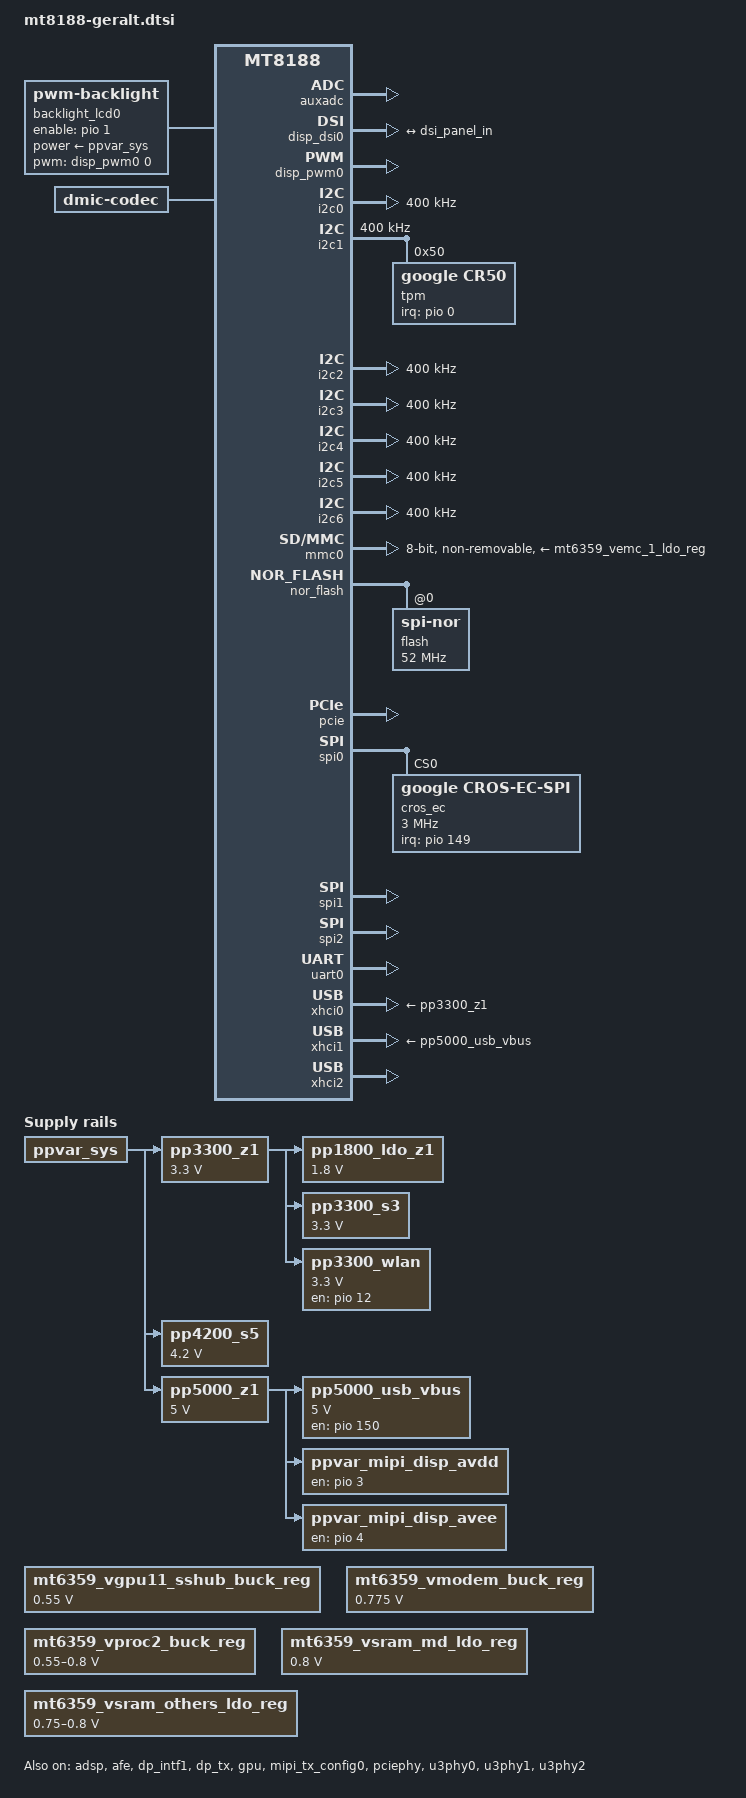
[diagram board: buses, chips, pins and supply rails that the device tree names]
// SPDX-License-Identifier: (GPL-2.0 OR MIT)
/*
 * Copyright (C) 2022 MediaTek Inc.
 */
/dts-v1/;
#include <dt-bindings/gpio/gpio.h>
#include "mt8188.dtsi"
#include "mt6359.dtsi"

/ {
	aliases {
		i2c0 = &i2c0;
		i2c1 = &i2c1;
		i2c2 = &i2c2;
		i2c3 = &i2c3;
		i2c4 = &i2c4;
		i2c5 = &i2c5;
		i2c6 = &i2c6;
		mmc0 = &mmc0;
		serial0 = &uart0;
	};

	backlight_lcd0: backlight-lcd0 {
		compatible = "pwm-backlight";
		brightness-levels = <0 1023>;
		default-brightness-level = <576>;
		enable-gpios = <&pio 1 GPIO_ACTIVE_HIGH>;
		num-interpolated-steps = <1023>;
		power-supply = <&ppvar_sys>;
		pwms = <&disp_pwm0 0 500000>;
	};

	chosen {
		stdout-path = "serial0:115200n8";
	};

	dmic-codec {
		compatible = "dmic-codec";
		num-channels = <2>;
		wakeup-delay-ms = <100>;
	};

	memory@40000000 {
		device_type = "memory";
		/* The size will be filled in by the bootloader */
		reg = <0 0x40000000 0 0>;
	};

	/* system wide LDO 1.8V power rail */
	pp1800_ldo_z1: regulator-pp1800-ldo-z1 {
		compatible = "regulator-fixed";
		regulator-name = "pp1800_ldo_z1";
		/* controlled by PP3300_Z1 */
		regulator-always-on;
		regulator-boot-on;
		regulator-min-microvolt = <1800000>;
		regulator-max-microvolt = <1800000>;
		vin-supply = <&pp3300_z1>;
	};

	/* separately switched 3.3V power rail */
	pp3300_s3: regulator-pp3300-s3 {
		compatible = "regulator-fixed";
		regulator-name = "pp3300_s3";
		/* controlled by PMIC */
		regulator-always-on;
		regulator-boot-on;
		regulator-min-microvolt = <3300000>;
		regulator-max-microvolt = <3300000>;
		vin-supply = <&pp3300_z1>;
	};

	/* system wide 3.3V power rail */
	pp3300_z1: regulator-pp3300-z1 {
		compatible = "regulator-fixed";
		regulator-name = "pp3300_z1";
		/* controlled by PP3300_LDO_Z5 & EN_PWR_Z1 */
		regulator-always-on;
		regulator-boot-on;
		regulator-min-microvolt = <3300000>;
		regulator-max-microvolt = <3300000>;
		vin-supply = <&ppvar_sys>;
	};

	pp3300_wlan: regulator-pp3300-wlan {
		compatible = "regulator-fixed";
		regulator-name = "pp3300_wlan";
		regulator-always-on;
		regulator-min-microvolt = <3300000>;
		regulator-max-microvolt = <3300000>;
		enable-active-high;
		gpio = <&pio 12 GPIO_ACTIVE_HIGH>;
		pinctrl-0 = <&wlan_en>;
		pinctrl-names = "default";
		vin-supply = <&pp3300_z1>;
	};

	/* system wide 4.2V power rail */
	pp4200_s5: regulator-pp4200-s5 {
		compatible = "regulator-fixed";
		regulator-name = "pp4200_s5";
		/* controlled by EC */
		regulator-always-on;
		regulator-boot-on;
		regulator-min-microvolt = <4200000>;
		regulator-max-microvolt = <4200000>;
		vin-supply = <&ppvar_sys>;
	};

	/* system wide 5.0V power rail */
	pp5000_z1: regulator-pp5000-z1 {
		compatible = "regulator-fixed";
		regulator-name = "pp5000_z1";
		/* controlled by EC */
		regulator-always-on;
		regulator-boot-on;
		regulator-min-microvolt = <5000000>;
		regulator-max-microvolt = <5000000>;
		vin-supply = <&ppvar_sys>;
	};

	pp5000_usb_vbus: regulator-pp5000-usb-vbus {
		compatible = "regulator-fixed";
		regulator-name = "pp5000_usb_vbus";
		regulator-min-microvolt = <5000000>;
		regulator-max-microvolt = <5000000>;
		enable-active-high;
		gpio = <&pio 150 GPIO_ACTIVE_HIGH>;
		vin-supply = <&pp5000_z1>;
	};

	/* system wide semi-regulated power rail from battery or USB */
	ppvar_sys: regulator-ppvar-sys {
		compatible = "regulator-fixed";
		regulator-name = "ppvar_sys";
		regulator-always-on;
		regulator-boot-on;
	};

	ppvar_mipi_disp_avdd: regulator-ppvar-mipi-disp-avdd {
		compatible = "regulator-fixed";
		regulator-name = "ppvar_mipi_disp_avdd";
		enable-active-high;
		gpio = <&pio 3 GPIO_ACTIVE_HIGH>;
		pinctrl-names = "default";
		pinctrl-0 = <&mipi_disp_avdd_en>;
		vin-supply = <&pp5000_z1>;
	};

	ppvar_mipi_disp_avee: regulator-ppvar-mipi-disp-avee {
		compatible = "regulator-fixed";
		regulator-name = "ppvar_mipi_disp_avee";
		regulator-enable-ramp-delay = <10000>;
		enable-active-high;
		gpio = <&pio 4 GPIO_ACTIVE_HIGH>;
		pinctrl-names = "default";
		pinctrl-0 = <&mipi_disp_avee_en>;
		vin-supply = <&pp5000_z1>;
	};

	reserved_memory: reserved-memory {
		#address-cells = <2>;
		#size-cells = <2>;
		ranges;

		apu_mem: memory@55000000 {
			compatible = "shared-dma-pool";
			reg = <0 0x55000000 0 0x1400000>;
		};

		adsp_mem: memory@60000000 {
			compatible = "shared-dma-pool";
			reg = <0 0x60000000 0 0xf00000>;
			no-map;
		};

		afe_dma_mem: memory@60f00000 {
			compatible = "shared-dma-pool";
			reg = <0 0x60f00000 0 0x100000>;
			no-map;
		};

		adsp_dma_mem: memory@61000000 {
			compatible = "shared-dma-pool";
			reg = <0 0x61000000 0 0x100000>;
			no-map;
		};
	};
};

&adsp {
	memory-region = <&adsp_dma_mem>, <&adsp_mem>;
	pinctrl-names = "default";
	pinctrl-0 = <&adsp_uart_pins>;
	status = "okay";
};

&afe {
	memory-region = <&afe_dma_mem>;
	mediatek,etdm-out1-cowork-source = <0>; /* in1 */
	mediatek,etdm-in2-cowork-source = <3>; /* out2 */
	status = "okay";
};

&auxadc {
	status = "okay";
};

&cam_vcore {
	domain-supply = <&mt6359_vproc1_buck_reg>;
};

/*
 * Geralt is the reference design and doesn't have target TDP.
 * Ciri is (currently) the only device following Geralt, and its
 * TDP target is 90 degrees.
 **/
&cpu_little0_alert0 {
	temperature = <90000>;
	hysteresis = <2000>;
	type = "passive";
};

&cpu_little1_alert0 {
	temperature = <90000>;
	hysteresis = <2000>;
	type = "passive";
};

&cpu_little2_alert0 {
	temperature = <90000>;
	hysteresis = <2000>;
	type = "passive";
};

&cpu_little3_alert0 {
	temperature = <90000>;
	hysteresis = <2000>;
	type = "passive";
};

&cpu_big0_alert0 {
	temperature = <90000>;
	hysteresis = <2000>;
	type = "passive";
};

&cpu_big1_alert0 {
	temperature = <90000>;
	hysteresis = <2000>;
	type = "passive";
};

&disp_dsi0 {
	#address-cells = <1>;
	#size-cells = <0>;
	status = "okay";

	dsi_panel: panel@0 {
		/* Compatible string for different panels can be found in each device dts */
		reg = <0>;
		enable-gpios = <&pio 25 GPIO_ACTIVE_HIGH>;
		pinctrl-names = "default";
		pinctrl-0 = <&mipi_dsi_pins>;

		backlight = <&backlight_lcd0>;
		avdd-supply = <&ppvar_mipi_disp_avdd>;
		avee-supply = <&ppvar_mipi_disp_avee>;
		pp1800-supply = <&mt6359_vm18_ldo_reg>;
		rotation = <270>;

		status = "okay";

		port {
			dsi_panel_in: endpoint {
				remote-endpoint = <&dsi_out>;
			};
		};
	};

	port {
		dsi_out: endpoint {
			remote-endpoint = <&dsi_panel_in>;
		};
	};
};

&disp_pwm0 {
	pinctrl-names = "default";
	pinctrl-0 = <&disp_pwm0_pins>;
	status = "okay";
};

&disp_pwm1 {
	pinctrl-names = "default";
	pinctrl-0 = <&disp_pwm1_pins>;
};

&dp_intf1 {
	status = "okay";

	port {
		dp_intf1_out: endpoint {
			remote-endpoint = <&dptx_in>;
		};
	};
};

&dp_tx {
	pinctrl-names = "default";
	pinctrl-0 = <&dp_tx_hpd>;
	#sound-dai-cells = <0>;
	status = "okay";

	ports {
		#address-cells = <1>;
		#size-cells = <0>;

		port@0 {
			reg = <0>;
			dptx_in: endpoint {
				remote-endpoint = <&dp_intf1_out>;
			};
		};

		port@1 {
			reg = <1>;
			dptx_out: endpoint {
				data-lanes = <0 1 2 3>;
			};
		};
	};
};

&gpu {
	mali-supply = <&mt6359_vproc2_buck_reg>;
	status = "okay";
};

&i2c0 {
	pinctrl-names = "default";
	pinctrl-0 = <&i2c0_pins>;
	clock-frequency = <400000>;
	status = "okay";
};

&i2c1 {
	pinctrl-names = "default";
	pinctrl-0 = <&i2c1_pins>;
	clock-frequency = <400000>;
	status = "okay";

	tpm@50 {
		compatible = "google,cr50";
		reg = <0x50>;
		interrupts-extended = <&pio 0 IRQ_TYPE_EDGE_RISING>;
		pinctrl-names = "default";
		pinctrl-0 = <&gsc_int>;
	};
};

&i2c2 {
	pinctrl-names = "default";
	pinctrl-0 = <&i2c2_pins>;
	clock-frequency = <400000>;
	status = "okay";
};

&i2c3 {
	pinctrl-names = "default";
	pinctrl-0 = <&i2c3_pins>;
	clock-frequency = <400000>;
	status = "okay";
};

&i2c4 {
	pinctrl-names = "default";
	pinctrl-0 = <&i2c4_pins>;
	clock-frequency = <400000>;
	status = "okay";
};

&i2c5 {
	pinctrl-names = "default";
	pinctrl-0 = <&i2c5_pins>;
	clock-frequency = <400000>;
	status = "okay";
};

&i2c6 {
	pinctrl-names = "default";
	pinctrl-0 = <&i2c6_pins>;
	clock-frequency = <400000>;
	status = "okay";
};

&mfg0 {
	domain-supply = <&mt6359_vproc2_buck_reg>;
};

&mfg1 {
	domain-supply = <&mt6359_vsram_others_ldo_reg>;
};

&mipi_tx_config0 {
	status = "okay";
};

&mmc0 {
	bus-width = <8>;
	cap-mmc-highspeed;
	cap-mmc-hw-reset;
	hs400-ds-delay = <0x1481b>;
	max-frequency = <200000000>;
	mmc-hs200-1_8v;
	mmc-hs400-1_8v;
	mmc-hs400-enhanced-strobe;
	no-sd;
	no-sdio;
	non-removable;
	pinctrl-names = "default", "state_uhs";
	pinctrl-0 = <&mmc0_pins_default>;
	pinctrl-1 = <&mmc0_pins_uhs>;
	supports-cqe;
	vmmc-supply = <&mt6359_vemc_1_ldo_reg>;
	vqmmc-supply = <&mt6359_vufs_ldo_reg>;
	status = "okay";
};

&mt6359codec {
	mediatek,dmic-mode = <1>; /* one-wire */
	mediatek,mic-type-0 = <2>; /* DMIC */
	mediatek,mic-type-2 = <2>; /* DMIC */
};

&mt6359_vcore_buck_reg {
	regulator-always-on;
};

&mt6359_vgpu11_buck_reg {
	regulator-always-on;
};

&mt6359_vgpu11_sshub_buck_reg {
	regulator-min-microvolt = <550000>;
	regulator-max-microvolt = <550000>;
	regulator-always-on;
};

&mt6359_vio28_ldo_reg {
	/delete-property/ regulator-always-on;
};

&mt6359_vm18_ldo_reg {
	/delete-property/ regulator-always-on;
};

&mt6359_vmodem_buck_reg {
	regulator-min-microvolt = <775000>;
	regulator-max-microvolt = <775000>;
};

&mt6359_vpa_buck_reg {
	regulator-max-microvolt = <3100000>;
};

&mt6359_vproc2_buck_reg {
	/*
	 * Called "ppvar_dvdd_gpu" in the schematic. Renamed to
	 * "ppvar_dvdd_vgpu" here to match mtk-regulator-coupler requirements.
	 */
	regulator-name = "ppvar_dvdd_vgpu";
	regulator-min-microvolt = <550000>;
	regulator-max-microvolt = <800000>;
	regulator-coupled-with = <&mt6359_vsram_others_ldo_reg>;
	regulator-coupled-max-spread = <6250>;
};

&mt6359_vpu_buck_reg {
	regulator-always-on;
};

&mt6359_vrf12_ldo_reg {
	regulator-always-on;
};

&mt6359_vsram_md_ldo_reg {
	regulator-min-microvolt = <800000>;
	regulator-max-microvolt = <800000>;
};

&mt6359_vsram_others_ldo_reg {
	regulator-name = "pp0850_dvdd_sram_gpu";
	regulator-min-microvolt = <750000>;
	regulator-max-microvolt = <800000>;
	regulator-coupled-with = <&mt6359_vproc2_buck_reg>;
	regulator-coupled-max-spread = <6250>;
};

&mt6359_vufs_ldo_reg {
	regulator-always-on;
};

&nor_flash {
	pinctrl-names = "default";
	pinctrl-0 = <&nor_pins>;
	status = "okay";

	flash@0 {
		compatible = "jedec,spi-nor";
		reg = <0>;
		spi-max-frequency = <52000000>;
	};
};

&pcie {
	pinctrl-names = "default";
	pinctrl-0 = <&pcie_pins>;
	status = "okay";
};

&pciephy {
	status = "okay";
};

&pio {
	gpio-line-names =
		"gsc_int",
		"AP_DISP_BKLTEN",
		"",
		"EN_PPVAR_MIPI_DISP",
		"EN_PPVAR_MIPI_DISP_150MA",
		"TCHSCR_RST_1V8_L",
		"TCHSRC_REPORT_DISABLE",
		"",
		"",
		"",
		"",
		"I2S_SPKR_DATAOUT",
		"EN_PP3300_WLAN_X",
		"WIFI_KILL_1V8_L",
		"BT_KILL_1V8_L",
		"AP_FLASH_WP_L", /* ... is crossystem ABI. Rev1 schematics call it AP_WP_ODL. */
		"",
		"EDP_HPD_1V8",
		"WCAM_PWDN_L",
		"WCAM_RST_L",
		"UCAM_PWDM_L",
		"UCAM_RST_L",
		"WCAM_24M_CLK",
		"UCAM_24M_CLK",
		"MT6319_INT",
		"DISP_RST_1V8_L",
		"DSIO_DSI_TE",
		"EN_PP3300_EDP_DISP_X",
		"TP",
		"MIPI_BL_PWM_1V8",
		"EDP_BL_PWM_1V8",
		"UART_AP_TX_GSC_RX",
		"UART_GSC_TX_AP_RX",
		"UART_SSPM_TX_DBGCON_RX",
		"UART_DBGCON_TX_SSPM_RX",
		"UART_ADSP_TX_DBGCON_RX",
		"UART_DBGCON_TX_ADSP_RX",
		"JTAG_AP_TMS",
		"JTAG_AP_TCK",
		"JTAG_AP_TDI",
		"JTAG_AP_TDO",
		"JTAG_AP_TRST",
		"AP_KPCOL0",
		"TP",
		"BEEP_ON_OD",
		"TP",
		"EC_AP_HPD_OD",
		"PCIE_WAKE_1V8_ODL",
		"PCIE_RST_1V8_L",
		"PCIE_CLKREQ_1V8_ODL",
		"",
		"",
		"",
		"",
		"",
		"AP_I2C_AUD_SCL_1V8",
		"AP_I2C_AUD_SDA_1V8",
		"AP_I2C_TPM_SCL_1V8",
		"AP_I2C_TPM_SDA_1V8",
		"AP_I2C_TCHSCR_SCL_1V8",
		"AP_I2C_TCHSCR_SDA_1V8",
		"AP_I2C_PMIC_SAR_SCL_1V8",
		"AP_I2C_PMIC_SAR_SDA_1V8",
		"AP_I2C_EC_HID_KB_SCL_1V8",
		"AP_I2C_EC_HID_KB_SDA_1V8",
		"AP_I2C_UCAM_SCL_1V8",
		"AP_I2C_UCAM_SDA_1V8",
		"AP_I2C_WCAM_SCL_1V8",
		"AP_I2C_WCAM_SDA_1V8",
		"SPI_AP_CS_EC_L",
		"SPI_AP_CLK_EC",
		"SPI_AP_DO_EC_DI",
		"SPI_AP_DI_EC_DO",
		"TP",
		"TP",
		"SPI_AP_CS_TCHSCR_L",
		"SPI_AP_CLK_TCHSCR",
		"SPI_AP_DO_TCHSCR_DI",
		"SPI_AP_DI_TCHSCR_DO",
		"TP",
		"TP",
		"TP",
		"TP",
		"",
		"",
		"",
		"TP",
		"",
		"SAR_INT_ODL",
		"",
		"",
		"",
		"PWRAP_SPI_CS_L",
		"PWRAP_SPI_CK",
		"PWRAP_SPI_MOSI",
		"PWRAP_SPI_MISO",
		"SRCLKENA0",
		"SRCLKENA1",
		"SCP_VREQ_VAO",
		"AP_RTC_CLK32K",
		"AP_PMIC_WDTRST_L",
		"AUD_CLK_MOSI",
		"AUD_SYNC_MOSI",
		"AUD_DAT_MOSI0",
		"AUD_DAT_MOSI1",
		"AUD_DAT_MISO0",
		"AUD_DAT_MISO1",
		"SD_CD_ODL",
		"HP_INT_ODL",
		"SPKR_INT_ODL",
		"I2S_HP_DATAIN",
		"EN_SPKR",
		"I2S_SPKR_MCLK",
		"I2S_SPKR_BCLK",
		"I2S_HP_MCLK",
		"I2S_HP_BCLK",
		"I2S_HP_LRCK",
		"I2S_HP_DATAOUT",
		"RST_SPKR_L",
		"I2S_SPKR_LRCK",
		"I2S_SPKR_DATAIN",
		"",
		"",
		"",
		"",
		"SPI_AP_CLK_ROM",
		"SPI_AP_CS_ROM_L",
		"SPI_AP_DO_ROM_DI",
		"SPI_AP_DI_ROM_DO",
		"TP",
		"TP",
		"",
		"",
		"",
		"",
		"",
		"",
		"",
		"",
		"EN_PP2800A_UCAM_X",
		"EN_PP1200_UCAM_X",
		"EN_PP2800A_WCAM_X",
		"EN_PP1100_WCAM_X",
		"TCHSCR_INT_1V8_L",
		"EN_PP3300_MIPI_TCHSCR_X",
		"MT7921_PMU_EN_1V8",
		"EN_PP3300_EDP_TCHSCR_X",
		"AP_EC_WARM_RST_REQ",
		"EC_AP_HID_INT_ODL",
		"EC_AP_INT_ODL",
		"AP_XHCI_INIT_DONE",
		"EMMC_DAT7",
		"EMMC_DAT6",
		"EMMC_DAT5",
		"EMMC_DAT4",
		"EMMC_RST_L",
		"EMMC_CMD",
		"EMMC_CLK",
		"EMMC_DAT3",
		"EMMC_DAT2",
		"EMMC_DAT1",
		"EMMC_DAT0",
		"EMMC_DSL",
		"SD_CMD",
		"SD_CLK",
		"SD_DAT0",
		"SD_DAT1",
		"SD_DAT2",
		"SD_DAT3",
		"",
		"",
		"USB3_HUB_RST_L",
		"EC_AP_RSVD0_ODL",
		"",
		"",
		"SPMI_SCL",
		"SPMI_SDA";

	adsp_uart_pins: adsp-uart-pins {
		pins-bus {
			pinmux = <PINMUX_GPIO35__FUNC_O_ADSP_UTXD0>,
				 <PINMUX_GPIO36__FUNC_I1_ADSP_URXD0>;
		};
	};

	aud_etdm_hp_on: aud-etdm-hp-on-pins {
		pins-bus {
			pinmux = <PINMUX_GPIO110__FUNC_I0_I2SIN_D0>,
				 <PINMUX_GPIO115__FUNC_B0_I2SO2_BCK>,
				 <PINMUX_GPIO116__FUNC_B0_I2SO2_WS>,
				 <PINMUX_GPIO117__FUNC_O_I2SO2_D0>;
		};
	};

	aud_etdm_hp_off: aud-etdm-hp-off-pins {
		pins-bus {
			pinmux = <PINMUX_GPIO110__FUNC_B_GPIO110>,
				 <PINMUX_GPIO115__FUNC_B_GPIO115>,
				 <PINMUX_GPIO116__FUNC_B_GPIO116>,
				 <PINMUX_GPIO117__FUNC_B_GPIO117>;
			bias-pull-down;
			input-enable;
		};
	};

	aud_etdm_spk_on: aud-etdm-spk-on-pins {
		pins-bus {
			pinmux = <PINMUX_GPIO11__FUNC_O_I2SO1_D0>,
				 <PINMUX_GPIO113__FUNC_B0_TDMIN_BCK>,
				 <PINMUX_GPIO119__FUNC_B0_TDMIN_LRCK>,
				 <PINMUX_GPIO120__FUNC_I0_TDMIN_DI>;
			drive-strength = <8>;
		};
	};

	aud_etdm_spk_off: aud-etdm-spk-off-pins {
		pins-bus {
			pinmux = <PINMUX_GPIO11__FUNC_B_GPIO11>,
				 <PINMUX_GPIO113__FUNC_B_GPIO113>,
				 <PINMUX_GPIO119__FUNC_B_GPIO119>,
				 <PINMUX_GPIO120__FUNC_B_GPIO120>;
			bias-pull-down;
			input-enable;
		};
	};

	aud_mtkaif_on: aud-mtkaif-on-pins {
		pins-bus {
			pinmux = <PINMUX_GPIO101__FUNC_O_AUD_CLK_MOSI>,
				 <PINMUX_GPIO102__FUNC_O_AUD_SYNC_MOSI>,
				 <PINMUX_GPIO103__FUNC_O_AUD_DAT_MOSI0>,
				 <PINMUX_GPIO104__FUNC_O_AUD_DAT_MOSI1>,
				 <PINMUX_GPIO105__FUNC_I0_AUD_DAT_MISO0>,
				 <PINMUX_GPIO106__FUNC_I0_AUD_DAT_MISO1>;
		};
	};

	aud_mtkaif_off: aud-mtkaif-off-pins {
		pins-bus {
			pinmux = <PINMUX_GPIO101__FUNC_B_GPIO101>,
				 <PINMUX_GPIO102__FUNC_B_GPIO102>,
				 <PINMUX_GPIO103__FUNC_B_GPIO103>,
				 <PINMUX_GPIO104__FUNC_B_GPIO104>,
				 <PINMUX_GPIO105__FUNC_B_GPIO105>,
				 <PINMUX_GPIO106__FUNC_B_GPIO106>;
			bias-pull-down;
			input-enable;
		};
	};

	cros_ec_int: cros-ec-int-pins {
		pins-ec-ap-int-odl {
			pinmux = <PINMUX_GPIO149__FUNC_B_GPIO149>;
			input-enable;
		};
	};

	disp_pwm0_pins: disp-pwm0-pins {
		pins-disp-pwm0 {
			pinmux = <PINMUX_GPIO29__FUNC_O_DISP_PWM0>;
			output-high;
		};
	};

	disp_pwm1_pins: disp-pwm1-pins {
		pins-disp-pwm1 {
			pinmux = <PINMUX_GPIO30__FUNC_O_DISP_PWM1>;
			output-high;
		};
	};

	dp_tx_hpd: dp-tx-hpd-pins {
		pins-dp-tx-hpd {
			pinmux = <PINMUX_GPIO46__FUNC_I0_DP_TX_HPD>;
		};
	};

	gsc_int: gsc-int-pins {
		pins-gsc-ap-int-odl {
			pinmux = <PINMUX_GPIO0__FUNC_B_GPIO0>;
			input-enable;
		};
	};

	i2c0_pins: i2c0-pins {
		pins-bus {
			pinmux = <PINMUX_GPIO56__FUNC_B1_SDA0>,
				 <PINMUX_GPIO55__FUNC_B1_SCL0>;
		};
	};

	i2c1_pins: i2c1-pins {
		pins-bus {
			pinmux = <PINMUX_GPIO58__FUNC_B1_SDA1>,
				 <PINMUX_GPIO57__FUNC_B1_SCL1>;
		};
	};

	i2c2_pins: i2c2-pins {
		pins-bus {
			pinmux = <PINMUX_GPIO60__FUNC_B1_SDA2>,
				 <PINMUX_GPIO59__FUNC_B1_SCL2>;
			bias-disable;
			drive-strength = <12>;
		};
	};

	i2c3_pins: i2c3-pins {
		pins-bus {
			pinmux = <PINMUX_GPIO62__FUNC_B1_SDA3>,
				 <PINMUX_GPIO61__FUNC_B1_SCL3>;
		};
	};

	i2c4_pins: i2c4-pins {
		pins-bus {
			pinmux = <PINMUX_GPIO64__FUNC_B1_SDA4>,
				 <PINMUX_GPIO63__FUNC_B1_SCL4>;
		};
	};

	i2c5_pins: i2c5-pins {
		pins-bus {
			pinmux = <PINMUX_GPIO66__FUNC_B1_SDA5>,
				 <PINMUX_GPIO65__FUNC_B1_SCL5>;
		};
	};

	i2c6_pins: i2c6-pins {
		pins-bus {
			pinmux = <PINMUX_GPIO68__FUNC_B1_SDA6>,
				 <PINMUX_GPIO67__FUNC_B1_SCL6>;
		};
	};

	mipi_disp_avdd_en: mipi-disp-avdd-en-pins {
		pins-en-ppvar-mipi-disp {
			pinmux = <PINMUX_GPIO3__FUNC_B_GPIO3>;
			output-low;
		};
	};

	mipi_disp_avee_en: mipi-disp-avee-en-pins {
		pins-en-ppvar-mipi-disp-150ma {
			pinmux = <PINMUX_GPIO4__FUNC_B_GPIO4>;
			output-low;
		};
	};

	mipi_dsi_pins: mipi-dsi-pins {
		pins-bus {
			pinmux = <PINMUX_GPIO1__FUNC_B_GPIO1>,
				 <PINMUX_GPIO25__FUNC_B_GPIO25>;
			output-low;
		};
	};

	mmc0_pins_default: mmc0-default-pins {
		pins-bus {
			pinmux = <PINMUX_GPIO161__FUNC_B1_MSDC0_DAT0>,
				 <PINMUX_GPIO160__FUNC_B1_MSDC0_DAT1>,
				 <PINMUX_GPIO159__FUNC_B1_MSDC0_DAT2>,
				 <PINMUX_GPIO158__FUNC_B1_MSDC0_DAT3>,
				 <PINMUX_GPIO154__FUNC_B1_MSDC0_DAT4>,
				 <PINMUX_GPIO153__FUNC_B1_MSDC0_DAT5>,
				 <PINMUX_GPIO152__FUNC_B1_MSDC0_DAT6>,
				 <PINMUX_GPIO151__FUNC_B1_MSDC0_DAT7>,
				 <PINMUX_GPIO156__FUNC_B1_MSDC0_CMD>;
			input-enable;
			drive-strength = <6>;
			bias-pull-up = <MTK_PUPD_SET_R1R0_01>;
		};

		pins-clk {
			pinmux = <PINMUX_GPIO157__FUNC_B1_MSDC0_CLK>;
			drive-strength = <6>;
			bias-pull-down = <MTK_PUPD_SET_R1R0_10>;
		};

		pins-rst {
			pinmux = <PINMUX_GPIO155__FUNC_O_MSDC0_RSTB>;
			drive-strength = <6>;
			bias-pull-up = <MTK_PUPD_SET_R1R0_01>;
		};
	};

	mmc0_pins_uhs: mmc0-uhs-pins {
		pins-bus {
			pinmux = <PINMUX_GPIO161__FUNC_B1_MSDC0_DAT0>,
				 <PINMUX_GPIO160__FUNC_B1_MSDC0_DAT1>,
				 <PINMUX_GPIO159__FUNC_B1_MSDC0_DAT2>,
				 <PINMUX_GPIO158__FUNC_B1_MSDC0_DAT3>,
				 <PINMUX_GPIO154__FUNC_B1_MSDC0_DAT4>,
				 <PINMUX_GPIO153__FUNC_B1_MSDC0_DAT5>,
				 <PINMUX_GPIO152__FUNC_B1_MSDC0_DAT6>,
				 <PINMUX_GPIO151__FUNC_B1_MSDC0_DAT7>,
				 <PINMUX_GPIO156__FUNC_B1_MSDC0_CMD>;
			input-enable;
			drive-strength = <8>;
			bias-pull-up = <MTK_PUPD_SET_R1R0_01>;
		};

		pins-clk {
			pinmux = <PINMUX_GPIO157__FUNC_B1_MSDC0_CLK>;
			drive-strength = <8>;
			bias-pull-down = <MTK_PUPD_SET_R1R0_10>;
		};

		pins-ds {
			pinmux = <PINMUX_GPIO162__FUNC_B0_MSDC0_DSL>;
			drive-strength = <8>;
			bias-pull-down = <MTK_PUPD_SET_R1R0_10>;
		};

		pins-rst {
			pinmux = <PINMUX_GPIO155__FUNC_O_MSDC0_RSTB>;
			drive-strength = <8>;
			bias-pull-up = <MTK_PUPD_SET_R1R0_01>;
		};
	};

	nor_pins: nor-default-pins {
		pins-clk {
			pinmux = <PINMUX_GPIO127__FUNC_B0_SPINOR_IO0>,
				 <PINMUX_GPIO125__FUNC_O_SPINOR_CK>,
				 <PINMUX_GPIO128__FUNC_B0_SPINOR_IO1>;
			bias-pull-down;
		};

		pins-cs {
			pinmux = <PINMUX_GPIO126__FUNC_O_SPINOR_CS>;
			bias-pull-up;
		};
	};

	pcie_pins: pcie-default-pins {
		pins-bus {
			pinmux = <PINMUX_GPIO47__FUNC_I1_WAKEN>,
				 <PINMUX_GPIO48__FUNC_O_PERSTN>,
				 <PINMUX_GPIO49__FUNC_B1_CLKREQN>;
		};
	};

	spi0_pins: spi0-pins {
		pins-bus {
			pinmux = <PINMUX_GPIO69__FUNC_O_SPIM0_CSB>,
				 <PINMUX_GPIO70__FUNC_O_SPIM0_CLK>,
				 <PINMUX_GPIO71__FUNC_B0_SPIM0_MOSI>,
				 <PINMUX_GPIO72__FUNC_B0_SPIM0_MISO>;
			bias-disable;
		};
	};

	spi1_pins_default: spi1-default-pins {
		pins-bus {
			pinmux = <PINMUX_GPIO75__FUNC_O_SPIM1_CSB>,
				 <PINMUX_GPIO76__FUNC_O_SPIM1_CLK>,
				 <PINMUX_GPIO77__FUNC_B0_SPIM1_MOSI>,
				 <PINMUX_GPIO78__FUNC_B0_SPIM1_MISO>;
			bias-disable;
		};
	};

	spi1_pins_sleep: spi1-sleep-pins {
		pins-bus {
			pinmux = <PINMUX_GPIO75__FUNC_B_GPIO75>,
				 <PINMUX_GPIO76__FUNC_B_GPIO76>,
				 <PINMUX_GPIO77__FUNC_B_GPIO77>,
				 <PINMUX_GPIO78__FUNC_B_GPIO78>;
			bias-pull-down;
			input-enable;
		};
	};

	spi2_pins: spi2-pins {
		pins-bus {
			pinmux = <PINMUX_GPIO79__FUNC_O_SPIM2_CSB>,
				 <PINMUX_GPIO80__FUNC_O_SPIM2_CLK>,
				 <PINMUX_GPIO81__FUNC_B0_SPIM2_MOSI>,
				 <PINMUX_GPIO82__FUNC_B0_SPIM2_MISO>;
			bias-disable;
		};
	};

	uart0_pins: uart0-pins {
		pins-bus {
			pinmux = <PINMUX_GPIO31__FUNC_O_UTXD0>,
				 <PINMUX_GPIO32__FUNC_I1_URXD0>;
			bias-pull-up;
		};
	};

	wlan_en: wlan-en-pins {
		pins-en-pp3300-wlan {
			pinmux = <PINMUX_GPIO12__FUNC_B_GPIO12>;
			output-low;
		};
	};
};

&pmic {
	interrupts-extended = <&pio 222 IRQ_TYPE_LEVEL_HIGH>;
};

&sound {
	pinctrl-names = "aud_etdm_hp_on", "aud_etdm_hp_off",
			"aud_etdm_spk_on", "aud_etdm_spk_off",
			"aud_mtkaif_on", "aud_mtkaif_off";
	pinctrl-0 = <&aud_etdm_hp_on>;
	pinctrl-1 = <&aud_etdm_hp_off>;
	pinctrl-2 = <&aud_etdm_spk_on>;
	pinctrl-3 = <&aud_etdm_spk_off>;
	pinctrl-4 = <&aud_mtkaif_on>;
	pinctrl-5 = <&aud_mtkaif_off>;
	mediatek,adsp = <&adsp>;
	/* The audio-routing is defined in each board dts */

	status = "okay";
};

&spi0 {
	pinctrl-names = "default";
	pinctrl-0 = <&spi0_pins>;
	status = "okay";

	cros_ec: ec@0 {
		compatible = "google,cros-ec-spi";
		reg = <0>;
		interrupts-extended = <&pio 149 IRQ_TYPE_LEVEL_LOW>;
		pinctrl-names = "default";
		pinctrl-0 = <&cros_ec_int>;
		spi-max-frequency = <3000000>;

		i2c_tunnel: i2c-tunnel {
			compatible = "google,cros-ec-i2c-tunnel";
			google,remote-bus = <1>;
			#address-cells = <1>;
			#size-cells = <0>;
		};

		cbas {
			compatible = "google,cros-cbas";
		};
	};
};

&spi1 {
	pinctrl-names = "default", "sleep";
	pinctrl-0 = <&spi1_pins_default>;
	pinctrl-1 = <&spi1_pins_sleep>;
	status = "okay";
};

&spi2 {
	pinctrl-names = "default";
	pinctrl-0 = <&spi2_pins>;
	status = "okay";
};

&uart0 {
	pinctrl-names = "default";
	pinctrl-0 = <&uart0_pins>;
	status = "okay";
};

&u3phy0 {
	status = "okay";
};

&u3phy1 {
	status = "okay";
};

&u3phy2 {
	status = "okay";
};

/* USB detachable base */
&xhci0 {
	/* controlled by EC */
	vbus-supply = <&pp3300_z1>;
	status = "okay";
};

/* USB3 hub */
&xhci1 {
	vusb33-supply = <&pp3300_s3>;
	vbus-supply = <&pp5000_usb_vbus>;
	status = "okay";
};

/* USB BT */
&xhci2 {
	/* no power supply since MT7921's power is controlled by PCIe */
	/* MT7921's USB BT has issues with USB2 LPM */
	usb2-lpm-disable;
	status = "okay";
};

#include <arm/cros-ec-keyboard.dtsi>

&keyboard_controller {
	function-row-physmap = <
		MATRIX_KEY(0x00, 0x02, 0)	/* T1 */
		MATRIX_KEY(0x03, 0x02, 0)	/* T2 */
		MATRIX_KEY(0x02, 0x02, 0)	/* T3 */
		MATRIX_KEY(0x01, 0x02, 0)	/* T4 */
		MATRIX_KEY(0x03, 0x04, 0)	/* T5 */
		MATRIX_KEY(0x02, 0x04, 0)	/* T6 */
		MATRIX_KEY(0x01, 0x04, 0)	/* T7 */
		MATRIX_KEY(0x02, 0x09, 0)	/* T8 */
		MATRIX_KEY(0x01, 0x09, 0)	/* T9 */
		MATRIX_KEY(0x00, 0x04, 0)	/* T10 */
	>;

	linux,keymap = <
		MATRIX_KEY(0x00, 0x02, KEY_BACK)
		MATRIX_KEY(0x03, 0x02, KEY_REFRESH)
		MATRIX_KEY(0x02, 0x02, KEY_ZOOM)
		MATRIX_KEY(0x01, 0x02, KEY_SCALE)
		MATRIX_KEY(0x03, 0x04, KEY_BRIGHTNESSDOWN)
		MATRIX_KEY(0x02, 0x04, KEY_BRIGHTNESSUP)
		MATRIX_KEY(0x01, 0x04, KEY_MICMUTE)
		MATRIX_KEY(0x02, 0x09, KEY_MUTE)
		MATRIX_KEY(0x01, 0x09, KEY_VOLUMEDOWN)
		MATRIX_KEY(0x00, 0x04, KEY_VOLUMEUP)
		CROS_STD_MAIN_KEYMAP
	>;
};
